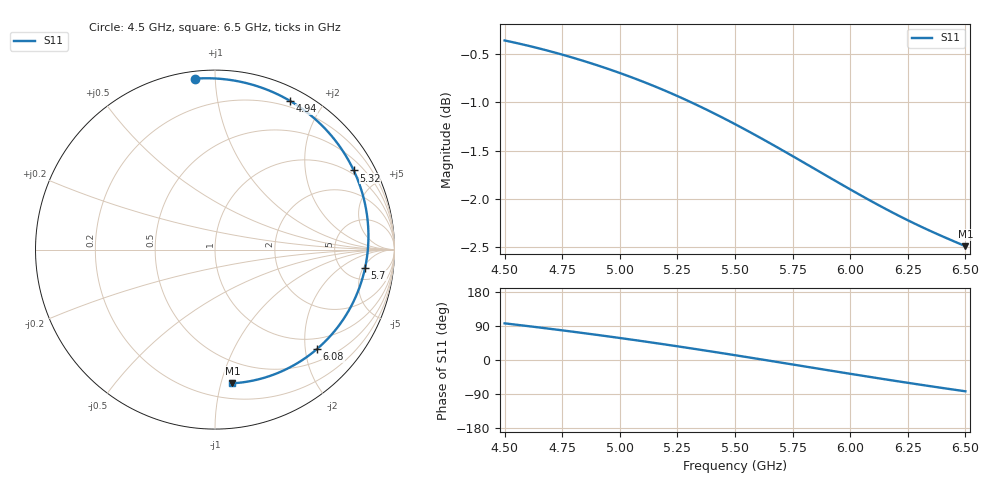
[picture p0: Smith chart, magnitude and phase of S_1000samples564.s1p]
! TOUCHSTONE file generated by CST MICROWAVE STUDIO
! Date and time: Fri Oct 28 15:01:09 2022
! Project name: L.cst
! Parameters = {Di=1.27; Epsilon_r=1.56; InnerDiameter=1.27; Length=2; Lf=10; Lg=60; OuterConductorThickness=0.2921; OuterDiameter=3.6; Wf=3; Wp=41.2; de=1.5; df=6.8; g=0.8; gx=2.90791; gy=4.92049; h=2.34; hf=1.524; px=10.6649; py=12.1914; w=9.7; wx=7.75698; wy=7.27087}
! Header version: 2018
! Port assignment regex: !\s*Touchstone port\s*([0-9]+)\s*=\s*(CST MWS port|CST DS port)\s*([0-9]+|Zmin|Zmax)\s*\(\"(.*)\"\)(\s*mode\s*([0-9]+))?.*
! Touchstone port assignment:
! Touchstone port 1 = CST MWS port 1 ("")
# GHz S DB R 50
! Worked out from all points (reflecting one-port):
!   101 points, 4.5 GHz to 6.5 GHz, reference 50 ohm
!   lowest |S11| = -2.5 dB at 6.5 GHz (marker M1), VSWR 7.03, Z = 15.9 - j54.3 ohm
!   phase of S11 starts at 97 deg and turns -179 deg over the sweep
!   S11 on the Smith chart (normalised r, x): 4.5 GHz: 0.04, +0.89; 4.94 GHz: 0.14, +1.62; 5.32 GHz: 0.85, +3.58; 5.7 GHz: 7.86, -5.46; 6.08 GHz: 0.75, -2.25; 6.5 GHz: 0.32, -1.09
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4.5  -0.36 96.7
4.58  -0.41 91.0
4.64  -0.44 86.6
4.7  -0.48 82.1
4.76  -0.52 77.5
4.86  -0.59 69.6
4.94  -0.65 63.1
5  -0.70 58.1
5.06  -0.75 53.0
5.12  -0.81 47.8
5.2  -0.89 40.7
5.26  -0.95 35.2
5.32  -1.01 29.7
5.42  -1.13 20.3
5.5  -1.23 12.7
5.6  -1.36 2.9
5.7  -1.49 -6.9
5.76  -1.57 -12.8
5.82  -1.65 -18.7
5.88  -1.74 -24.6
6  -1.90 -36.4
6.08  -2.01 -44.1
6.18  -2.13 -53.6
6.26  -2.23 -61.1
6.32  -2.30 -66.6
6.38  -2.36 -72.0
6.44  -2.43 -77.3
6.5  -2.49 -82.6
